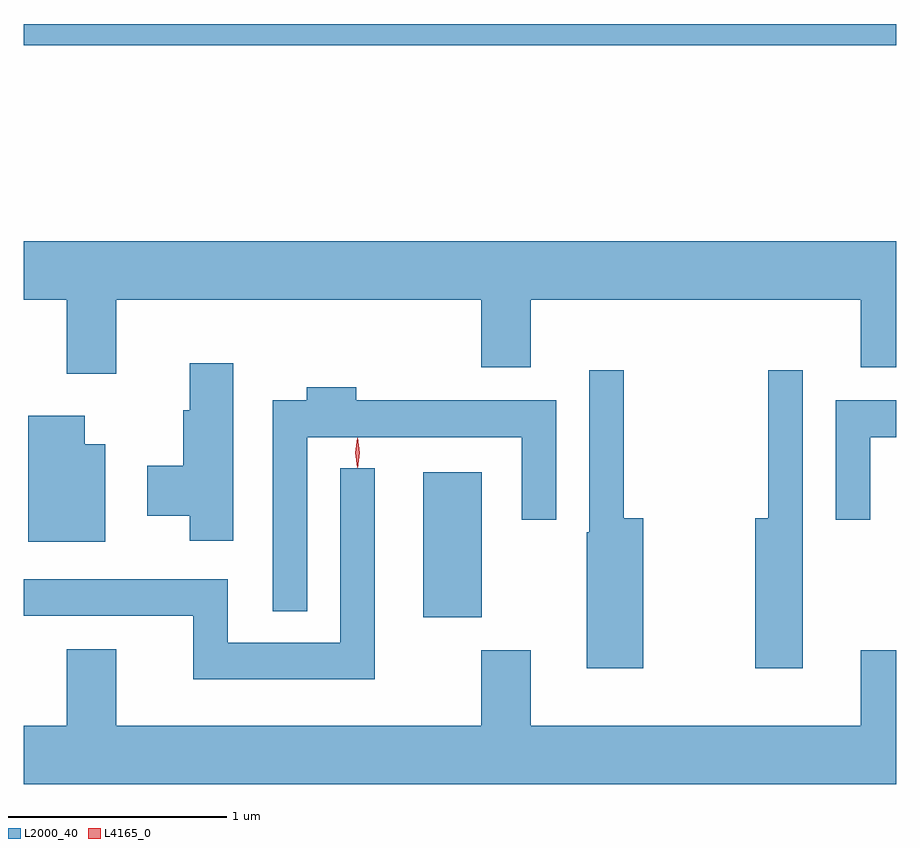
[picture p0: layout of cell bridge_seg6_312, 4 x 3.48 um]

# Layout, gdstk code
import gdstk
lib = gdstk.Library(unit=1e-6, precision=1e-09)
def R(c, l, rs):  # rectangles x0, y0, x1, y1
    for r in rs: c.add(gdstk.rectangle(r[:2], r[2:], *l))
def P(c, l, *ps):  # polygons
    for p in ps: c.add(gdstk.Polygon(p, *l))
L2000_40 = (2000, 40)
L4165_0 = (4165, 0)

bridge_seg6_312 = lib.new_cell('bridge_seg6_312')
R(bridge_seg6_312, L2000_40, [(1316.746,1559.681,1317.014,1560.344), (1314.914,1562.301,1318.914,1562.399)])
P(bridge_seg6_312, L2000_40, [(1315.339,1561.136),(1317.011,1561.136),(1317.011,1560.826),(1317.239,1560.826),(1317.239,1561.136),(1318.751,1561.136),(1318.751,1560.826),(1318.914,1560.826),(1318.914,1561.404),(1314.914,1561.404),(1314.914,1561.136),(1315.111,1561.136),(1315.111,1560.796),(1315.339,1560.796)],
  [(1315.874,1560.844),(1315.676,1560.844),(1315.676,1560.629),(1315.646,1560.629),(1315.646,1560.374),(1315.481,1560.374),(1315.481,1560.146),(1315.676,1560.146),(1315.676,1560.031),(1315.874,1560.031)],
  [(1317.754,1560.134),(1317.664,1560.134),(1317.664,1560.813),(1317.506,1560.813),(1317.506,1560.07),(1317.496,1560.07),(1317.496,1559.446),(1317.754,1559.446)],
  [(1318.484,1560.813),(1318.326,1560.813),(1318.326,1560.134),(1318.266,1560.134),(1318.266,1559.446),(1318.484,1559.446)],
  [(1316.214,1560.506),(1317.196,1560.506),(1317.196,1560.128),(1317.354,1560.128),(1317.354,1560.674),(1316.439,1560.674),(1316.439,1560.734),(1316.211,1560.734),(1316.211,1560.674),(1316.056,1560.674),(1316.056,1559.708),(1316.214,1559.708)],
  [(1318.794,1560.506),(1318.914,1560.506),(1318.914,1560.674),(1318.636,1560.674),(1318.636,1560.128),(1318.794,1560.128)],
  [(1315.289,1560.474),(1315.194,1560.474),(1315.194,1560.604),(1314.936,1560.604),(1314.936,1560.026),(1315.289,1560.026)],
  [(1316.524,1560.363),(1316.366,1560.363),(1316.366,1559.564),(1315.849,1559.564),(1315.849,1559.854),(1314.914,1559.854),(1314.914,1559.686),(1315.691,1559.686),(1315.691,1559.396),(1316.524,1559.396)],
  [(1318.914,1559.529),(1318.751,1559.529),(1318.751,1559.184),(1317.239,1559.184),(1317.239,1559.529),(1317.011,1559.529),(1317.011,1559.184),(1315.339,1559.184),(1315.339,1559.534),(1315.111,1559.534),(1315.111,1559.184),(1314.914,1559.184),(1314.914,1558.916),(1318.914,1558.916)])
P(bridge_seg6_312, L4165_0, [(1316.445,1560.364),(1316.445,1560.364),(1316.435,1560.434),(1316.445,1560.503),(1316.445,1560.503),(1316.446,1560.503),(1316.455,1560.434),(1316.446,1560.364)],
  [(1316.444,1560.367),(1316.444,1560.368),(1316.434,1560.434),(1316.444,1560.5),(1316.444,1560.5),(1316.444,1560.5),(1316.454,1560.434),(1316.445,1560.368)])

lib.write_gds('bridge_seg6_312.gds')
